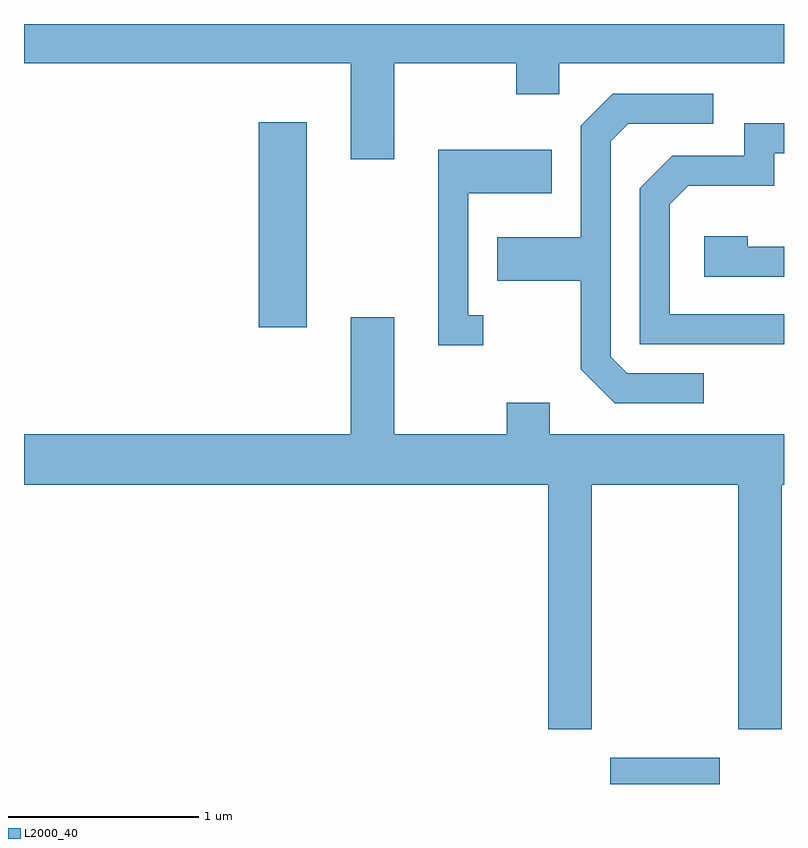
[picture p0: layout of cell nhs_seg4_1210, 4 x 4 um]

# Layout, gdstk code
import gdstk
lib = gdstk.Library(unit=1e-6, precision=1e-09)
def R(c, l, rs):  # rectangles x0, y0, x1, y1
    for r in rs: c.add(gdstk.rectangle(r[:2], r[2:], *l))
def P(c, l, *ps):  # polygons
    for p in ps: c.add(gdstk.Polygon(p, *l))
L2000_40 = (2000, 40)

nhs_seg4_1210 = lib.new_cell('nhs_seg4_1210')
R(nhs_seg4_1210, L2000_40, [(222.696,1361.982,223.274,1362.119), (220.846,1364.386,221.099,1365.464)])
P(nhs_seg4_1210, L2000_40, [(221.559,1365.776),(222.201,1365.776),(222.201,1365.611),(222.429,1365.611),(222.429,1365.776),(223.611,1365.776),(223.611,1365.982),(219.611,1365.982),(219.611,1365.776),(221.331,1365.776),(221.331,1365.271),(221.559,1365.271)],
  [(223.188,1364.144),(222.787,1364.144),(222.699,1364.232),(222.699,1365.364),(222.792,1365.456),(223.238,1365.456),(223.238,1365.614),(222.709,1365.614),(222.541,1365.447),(222.541,1364.859),(222.101,1364.859),(222.101,1364.631),(222.541,1364.631),(222.541,1364.164),(222.719,1363.986),(223.188,1363.986)],
  [(223.611,1364.454),(223.009,1364.454),(223.009,1365.034),(223.107,1365.131),(223.559,1365.131),(223.559,1365.301),(223.611,1365.301),(223.611,1365.459),(223.401,1365.459),(223.401,1365.289),(223.024,1365.289),(222.851,1365.117),(222.851,1364.296),(223.611,1364.296)],
  [(222.028,1364.449),(221.949,1364.449),(221.949,1365.091),(222.389,1365.091),(222.389,1365.319),(221.791,1365.319),(221.791,1364.291),(222.028,1364.291)],
  [(223.611,1364.809),(223.419,1364.809),(223.419,1364.864),(223.191,1364.864),(223.191,1364.651),(223.611,1364.651)],
  [(222.599,1363.556),(223.371,1363.556),(223.371,1362.271),(223.599,1362.271),(223.599,1363.556),(223.611,1363.556),(223.611,1363.824),(222.379,1363.824),(222.379,1363.989),(222.151,1363.989),(222.151,1363.824),(221.559,1363.824),(221.559,1364.439),(221.331,1364.439),(221.331,1363.824),(219.611,1363.824),(219.611,1363.556),(222.371,1363.556),(222.371,1362.271),(222.599,1362.271)])

lib.write_gds('nhs_seg4_1210.gds')
